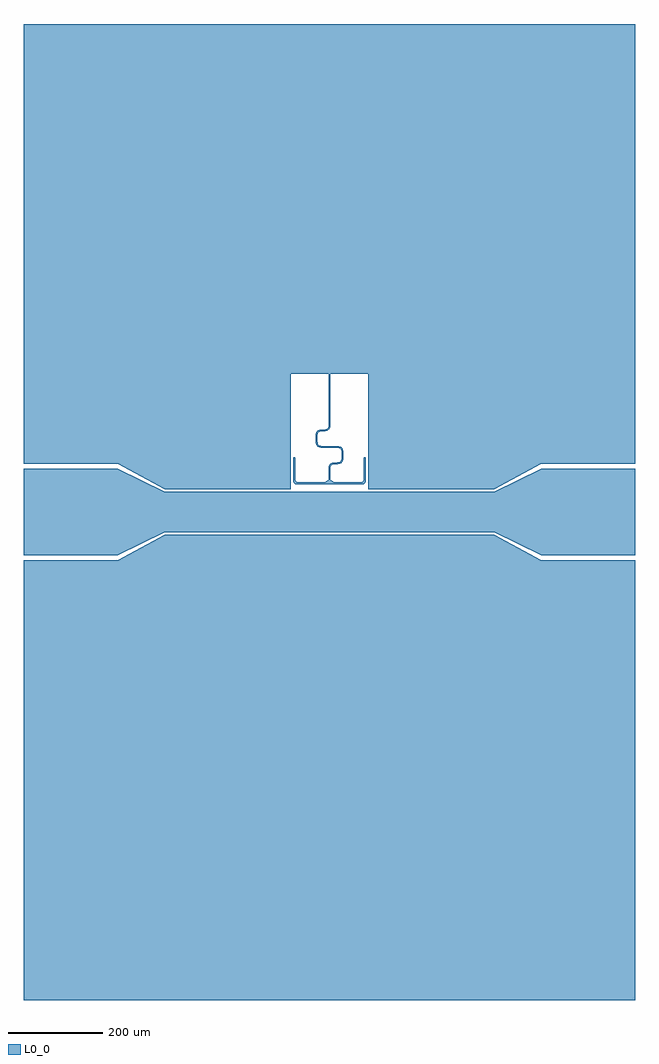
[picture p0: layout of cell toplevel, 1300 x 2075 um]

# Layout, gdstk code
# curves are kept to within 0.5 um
import gdstk
lib = gdstk.Library(unit=1e-6, precision=1e-09)
def P(c, l, *ps):  # polygons
    for p in ps: c.add(gdstk.Polygon(p, *l))
L0_0 = (0, 0)

toplevel = lib.new_cell('toplevel')
P(toplevel, L0_0, [(82.5,293.5),(82.5,48.5),(350,48.5),(450,102.575),(650,102.575),(650,1037.5),(-650,1037.5),(-650,102.575),(-450,102.575),(-350,48.5),(-82.5,48.5),(-82.5,293.5)],
  [(650,-1037.5),(650,-102.575),(450,-102.575),(350,-48.5),(-350,-48.5),(-450,-102.575),(-650,-102.575),(-650,-1037.5)],
  [(-75.109,115.998),(-76.768,115.268),(-77.498,113.609),(-77.454,68.054),(-75.706,62.289),(-71.439,59.171),(-66.14,58.5),(67.405,58.521),(73.502,60.154),(76.829,64.561),(77.495,69.262),(77.498,113.609),(75.752,115.884),(73.657,115.608),(72.521,113.826),(72.476,68.616),(71.828,65.527),(70.013,63.97),(-66.125,63.5),(-70.724,64.313),(-72.337,67.172),(-72.502,113.609),(-73.311,115.343)],
  [(1.75,68.5),(1.779,92.739),(2.817,97.827),(4.37,99.853),(6.855,101.147),(20.329,102.163),(23.556,103.269),(26.091,105.126),(27.953,107.904),(28.983,111.483),(29.25,125.409),(28.972,130.585),(27.829,134.36),(25.707,137.248),(22.563,139.18),(16.676,140.226),(-19.092,140.494),(-21.646,141.232),(-23.508,142.492),(-24.768,144.354),(-25.506,146.908),(-25.675,163.6),(-25.132,166.695),(-23.941,169.02),(-22.177,170.5),(-19.623,171.409),(-8.788,171.911),(-4.272,173.108),(-0.582,176.115),(1.39,180.942),(1.75,293.5),(-1.75,293.5),(-2.04,181.641),(-3.415,178.17),(-6.038,176.151),(-9.394,175.367),(-20.872,174.715),(-24.264,173.333),(-26.783,171.066),(-28.378,168.025),(-29.135,164.246),(-29.246,150.345),(-28.55,144.517),(-27.173,141.485),(-25.006,139.171),(-22.092,137.645),(-15.781,136.755),(19.092,136.506),(22.389,135.377),(24.829,132.508),(25.57,129.658),(25.744,115.201),(25.303,110.909),(24.274,108.447),(21.692,106.253),(19.253,105.521),(9.386,105.146),(5.475,104.378),(1.964,102.4),(-0.329,99.36),(-1.708,93.129),(-1.75,68.5)],
  [(10,63.5),(1.75,68.5),(-1.75,68.5),(-10,63.5)],
  [(-350,43.5),(-450,92),(-650,92),(-650,-92),(-450,-92),(-350,-43.5),(350,-43.5),(450,-92),(650,-92),(650,92),(450,92),(350,43.5)])

lib.write_gds('toplevel.gds')
